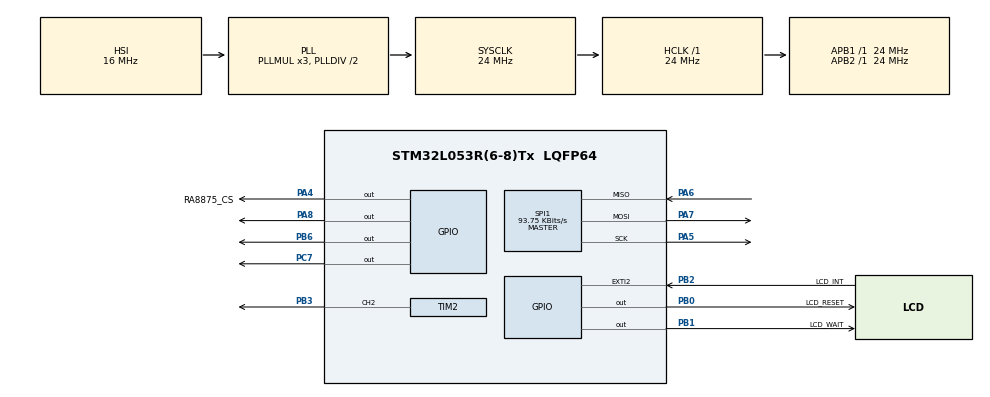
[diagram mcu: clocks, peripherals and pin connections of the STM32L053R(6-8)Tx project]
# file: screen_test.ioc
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Mcu.Family=STM32L0
Mcu.Name=STM32L053R(6-8)Tx
Mcu.Package=LQFP64
NVIC.EXTI2_3_IRQn=true\:0\:0\:false\:false\:true\:true\:true\:true
PA4.GPIO_Label=RA8875_CS
PA4.GPIO_PuPd=GPIO_PULLUP
PA4.GPIO_Speed=GPIO_SPEED_FREQ_VERY_HIGH
PA4.Signal=GPIO_Output
PA5.GPIO_Mode=GPIO_MODE_AF_PP
PA5.Mode=Full_Duplex_Master
PA5.Signal=SPI1_SCK
PA6.GPIO_Mode=GPIO_MODE_AF_PP
PA6.Mode=Full_Duplex_Master
PA6.Signal=SPI1_MISO
PA7.GPIO_Mode=GPIO_MODE_AF_PP
PA7.Mode=Full_Duplex_Master
PA7.Signal=SPI1_MOSI
PA8.GPIO_Speed=GPIO_SPEED_FREQ_MEDIUM
PA8.Signal=GPIO_Output
PB0.GPIO_Label=LCD_RESET
PB0.GPIO_Speed=GPIO_SPEED_FREQ_VERY_HIGH
PB0.Signal=GPIO_Output
PB1.GPIO_Label=LCD_WAIT
PB1.Signal=GPIO_Output
PB2.GPIO_Label=LCD_INT
PB2.GPIO_ModeDefaultEXTI=GPIO_MODE_IT_FALLING
PB2.Signal=GPXTI2
PB3.GPIO_ModeDefaultPP=GPIO_MODE_AF_PP
PB3.Signal=S_TIM2_CH2
PB6.GPIO_PuPd=GPIO_PULLUP
PB6.GPIO_Speed=GPIO_SPEED_FREQ_VERY_HIGH
PB6.Signal=GPIO_Output
PC7.GPIO_PuPd=GPIO_NOPULL
PC7.GPIO_Speed=GPIO_SPEED_FREQ_VERY_HIGH
PC7.Signal=GPIO_Output
PH0-OSC_IN.Mode=HSE-External-Oscillator
PH0-OSC_IN.Signal=RCC_OSC_IN
PH1-OSC_OUT.Mode=HSE-External-Oscillator
PH1-OSC_OUT.Signal=RCC_OSC_OUT
ProjectManager.HeapSize=0x200
ProjectManager.StackSize=0x400
ProjectManager.TargetToolchain=STM32CubeIDE
RCC.ADCFreq_Value=16000000
RCC.AHBFreq_Value=24000000
RCC.APB1Freq_Value=24000000
RCC.APB1TimFreq_Value=24000000
RCC.APB2Freq_Value=24000000
RCC.APB2TimFreq_Value=24000000
RCC.HCLKFreq_Value=24000000
RCC.HSE_VALUE=8000000
RCC.HSI16_VALUE=16000000
RCC.HSI48_VALUE=48000000
RCC.HSI_VALUE=16000000
RCC.LSE_VALUE=32768
RCC.MSI_VALUE=2097000
RCC.SYSCLKFreq_VALUE=24000000
RCC.SYSCLKSource=RCC_SYSCLKSOURCE_PLLCLK
RCC.VCOOutputFreq_Value=48000000
SH.S_TIM2_CH2.0=TIM2_CH2,PWM Generation2 CH2
SPI1.BaudRatePrescaler=SPI_BAUDRATEPRESCALER_256
SPI1.CalculateBaudRate=93.75 KBits/s
SPI1.Direction=SPI_DIRECTION_2LINES
SPI1.Mode=SPI_MODE_MASTER
SPI1.VirtualType=VM_MASTER
TIM2.Channel-PWM\ Generation2\ CH2=TIM_CHANNEL_2
TIM2.Prescaler=180-1
VP_TIM2_VS_ClockSourceINT.Mode=Internal
board=custom

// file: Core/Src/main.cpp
/* USER CODE BEGIN Header */
/**
 * OLD ONE!!
  ******************************************************************************
  * @file           : main.c
  * @brief          : Main program body
  ******************************************************************************
  * @attention
  *
  * Copyright (c) 2026 STMicroelectronics.
  * All rights reserved.
  *
  * This software is licensed under terms that can be found in the LICENSE file
  * in the root directory of this software component.
  * If no LICENSE file comes with this software, it is provided AS-IS.
  *
  ******************************************************************************
  */
/* USER CODE END Header */
#include "main.h"

/* USER CODE BEGIN Includes */
#include <Adafruit_RA8875.hpp>
#include "stdio.h"
#include "string.h"
#include "stdbool.h"
#include "gfxfont.h"
#include "entryPointCPP.hpp"
#include "stm32l0xx_it.h"
#include "ui_def.h"
/* USER CODE END Includes */

SPI_HandleTypeDef hspi1;

TIM_HandleTypeDef htim2;

void SystemClock_Config(void);
static void MX_GPIO_Init(void);
static void MX_SPI1_Init(void);
static void MX_TIM2_Init(void);

/* USER CODE BEGIN 0 */
extern volatile uint8_t touchPending;
#ifdef REDIRECT_PRINTF
#define PUTCHAR_PROTOTYPE int __io_putchar(int ch)
#endif

#ifdef REDIRECT_PRINTF
/**
  * @brief  Retargets the C library printf function to the USART.
  * @param  None
  * @retval None
  */
PUTCHAR_PROTOTYPE
{
  /* Place your implementation of fputc here */
  /* e.g. write a character to the USART2 and Loop until the end of transmission */
  HAL_UART_Transmit(&huart2, (uint8_t *)&ch, 1, 0xFFFF);

  return ch;
}
#endif

void delay(uint16_t time)
{
	__HAL_TIM_SET_COUNTER(&htim2, 0); // changed from htim1 to htim2
	while (__HAL_TIM_GET_COUNTER (&htim2) < time);
}
void MX_SPI1_ReInit(uint32_t scaler)
{

  /* USER CODE BEGIN SPI1_Init 0 */

  /* USER CODE END SPI1_Init 0 */

  /* USER CODE BEGIN SPI1_Init 1 */

  /* USER CODE END SPI1_Init 1 */
  /* SPI1 parameter configuration*/
  hspi1.Instance = SPI1;
  hspi1.Init.Mode = SPI_MODE_MASTER;
  hspi1.Init.Direction = SPI_DIRECTION_2LINES;
  hspi1.Init.DataSize = SPI_DATASIZE_8BIT;
  hspi1.Init.CLKPolarity = SPI_POLARITY_LOW;
  hspi1.Init.CLKPhase = SPI_PHASE_1EDGE;
  hspi1.Init.NSS = SPI_NSS_SOFT;
  hspi1.Init.BaudRatePrescaler = scaler;
  hspi1.Init.FirstBit = SPI_FIRSTBIT_MSB;
  hspi1.Init.TIMode = SPI_TIMODE_DISABLE;
  hspi1.Init.CRCCalculation = SPI_CRCCALCULATION_DISABLE;
  hspi1.Init.CRCPolynomial = 10;
  if (HAL_SPI_Init(&hspi1) != HAL_OK)
  {
    Error_Handler();
  }
/* USER CODE END 0 */
}
int main(void)
{

  /* MCU Configuration--------------------------------------------------------*/

  /* Reset of all peripherals, Initializes the Flash interface and the Systick. */
  HAL_Init();

  /* Configure the system clock */
  SystemClock_Config();

  /* Initialize all configured peripherals */
  MX_GPIO_Init();
  MX_SPI1_Init();
  MX_TIM2_Init();
  /* USER CODE BEGIN 2 */
  printf("\x1b[2J\x1b[H");	// Clear the dumb terminal screen
      printf("Starting Initialization Process\r\n");

      HAL_TIM_Base_Start(&htim2);

      initTest(&hspi1);

      HAL_Delay(1000);

      MX_SPI1_ReInit(SPI_BAUDRATEPRESCALER_32);	// Increase the SPI clock rate

      HAL_Delay(500);
      setup();
  /* USER CODE END 2 */

  /* Infinite loop */
  while (1)
  {

    /* USER CODE BEGIN 3 */
	   if (tft->touched())
	   {
	       update_on_touch();
	   }

  }
  /* USER CODE END 3 */
}

void SystemClock_Config(void)
{
  RCC_OscInitTypeDef RCC_OscInitStruct = {0};
  RCC_ClkInitTypeDef RCC_ClkInitStruct = {0};

  /** Configure the main internal regulator output voltage
  */
  __HAL_PWR_VOLTAGESCALING_CONFIG(PWR_REGULATOR_VOLTAGE_SCALE1);

  /** Initializes the RCC Oscillators according to the specified parameters
  * in the RCC_OscInitTypeDef structure.
  */
  RCC_OscInitStruct.OscillatorType = RCC_OSCILLATORTYPE_HSI;
  RCC_OscInitStruct.HSIState = RCC_HSI_ON;
  RCC_OscInitStruct.HSICalibrationValue = RCC_HSICALIBRATION_DEFAULT;
  RCC_OscInitStruct.PLL.PLLState = RCC_PLL_ON;
  RCC_OscInitStruct.PLL.PLLSource = RCC_PLLSOURCE_HSI;
  RCC_OscInitStruct.PLL.PLLMUL = RCC_PLLMUL_3;
  RCC_OscInitStruct.PLL.PLLDIV = RCC_PLLDIV_2;
  if (HAL_RCC_OscConfig(&RCC_OscInitStruct) != HAL_OK)
  {
    Error_Handler();
  }

  /** Initializes the CPU, AHB and APB buses clocks
  */
   RCC_ClkInitStruct.ClockType = RCC_CLOCKTYPE_HCLK|RCC_CLOCKTYPE_SYSCLK
                               |RCC_CLOCKTYPE_PCLK1|RCC_CLOCKTYPE_PCLK2;
   RCC_ClkInitStruct.SYSCLKSource = RCC_SYSCLKSOURCE_PLLCLK;
   RCC_ClkInitStruct.AHBCLKDivider = RCC_SYSCLK_DIV1;
   RCC_ClkInitStruct.APB1CLKDivider = RCC_HCLK_DIV1;
   RCC_ClkInitStruct.APB2CLKDivider = RCC_HCLK_DIV1;

   if (HAL_RCC_ClockConfig(&RCC_ClkInitStruct, FLASH_LATENCY_1) != HAL_OK)
   {
     Error_Handler();
   }
 }

static void MX_SPI1_Init(void)
{

  /* SPI1 parameter configuration*/
	hspi1.Instance = SPI1;
	hspi1.Init.Mode = SPI_MODE_MASTER;
	hspi1.Init.Direction = SPI_DIRECTION_2LINES;
    hspi1.Init.DataSize = SPI_DATASIZE_8BIT;
    hspi1.Init.CLKPolarity = SPI_POLARITY_LOW;
    hspi1.Init.CLKPhase = SPI_PHASE_1EDGE;
    hspi1.Init.NSS = SPI_NSS_SOFT;
    hspi1.Init.BaudRatePrescaler = SPI_BAUDRATEPRESCALER_256;
    hspi1.Init.FirstBit = SPI_FIRSTBIT_MSB;
    hspi1.Init.TIMode = SPI_TIMODE_DISABLE;
    hspi1.Init.CRCCalculation = SPI_CRCCALCULATION_DISABLE;
    hspi1.Init.CRCPolynomial = 7;
    if (HAL_SPI_Init(&hspi1) != HAL_OK)
    {
      Error_Handler();
    }

}

static void MX_TIM2_Init(void)
{

  TIM_ClockConfigTypeDef sClockSourceConfig = {0};
  TIM_MasterConfigTypeDef sMasterConfig = {0};
  TIM_OC_InitTypeDef sConfigOC = {0};

  htim2.Instance = TIM2;
  htim2.Init.Prescaler = 180-1;
  htim2.Init.CounterMode = TIM_COUNTERMODE_UP;
  htim2.Init.Period = 65535;
  htim2.Init.ClockDivision = TIM_CLOCKDIVISION_DIV1;
  htim2.Init.AutoReloadPreload = TIM_AUTORELOAD_PRELOAD_DISABLE;
  if (HAL_TIM_Base_Init(&htim2) != HAL_OK)
  {
    Error_Handler();
  }
  sClockSourceConfig.ClockSource = TIM_CLOCKSOURCE_INTERNAL;
  if (HAL_TIM_ConfigClockSource(&htim2, &sClockSourceConfig) != HAL_OK)
  {
    Error_Handler();
  }
  if (HAL_TIM_PWM_Init(&htim2) != HAL_OK)
  {
    Error_Handler();
  }
  sMasterConfig.MasterOutputTrigger = TIM_TRGO_RESET;
  sMasterConfig.MasterSlaveMode = TIM_MASTERSLAVEMODE_DISABLE;
  if (HAL_TIMEx_MasterConfigSynchronization(&htim2, &sMasterConfig) != HAL_OK)
  {
    Error_Handler();
  }
  sConfigOC.OCMode = TIM_OCMODE_PWM1;
  sConfigOC.Pulse = 0;
  sConfigOC.OCPolarity = TIM_OCPOLARITY_HIGH;
  sConfigOC.OCFastMode = TIM_OCFAST_DISABLE;
  if (HAL_TIM_PWM_ConfigChannel(&htim2, &sConfigOC, TIM_CHANNEL_2) != HAL_OK)
  {
    Error_Handler();
  }
  HAL_TIM_MspPostInit(&htim2);

}

static void MX_GPIO_Init(void)
{
  GPIO_InitTypeDef GPIO_InitStruct = {0};

  /* GPIO Ports Clock Enable */
  __HAL_RCC_GPIOH_CLK_ENABLE();
  __HAL_RCC_GPIOA_CLK_ENABLE();
  __HAL_RCC_GPIOB_CLK_ENABLE();
  __HAL_RCC_GPIOC_CLK_ENABLE();

  /*Configure GPIO pin Output Level BS generated by IOC
//  HAL_GPIO_WritePin(GPIOA, RA8875_CS_Pin|GPIO_PIN_8, GPIO_PIN_RESET);
//
//  /*Configure GPIO pin Output Level */
//  HAL_GPIO_WritePin(GPIOB, LCD_RESET_Pin|LCD_WAIT_Pin|GPIO_PIN_6, GPIO_PIN_RESET);
//
//  /*Configure GPIO pin Output Level */
//  HAL_GPIO_WritePin(GPIOC, GPIO_PIN_7, GPIO_PIN_RESET);

  HAL_GPIO_WritePin(LCD_RESET_GPIO_Port, LCD_RESET_Pin, GPIO_PIN_RESET);

    /*Configure GPIO pin Output Level */
  HAL_GPIO_WritePin(LCD_WAIT_GPIO_Port, LCD_WAIT_Pin, GPIO_PIN_RESET);

    /*Configure GPIO pin Output Level */
  HAL_GPIO_WritePin(RA8875_CS_GPIO_Port, RA8875_CS_Pin, GPIO_PIN_RESET);
  /*Configure GPIO pin : RA8875_CS_Pin */
  GPIO_InitStruct.Pin = RA8875_CS_Pin;
  GPIO_InitStruct.Mode = GPIO_MODE_OUTPUT_PP;
  GPIO_InitStruct.Pull = GPIO_PULLUP;
  GPIO_InitStruct.Speed = GPIO_SPEED_FREQ_VERY_HIGH;
  HAL_GPIO_Init(RA8875_CS_GPIO_Port, &GPIO_InitStruct);

  /*Configure GPIO pin : LCD_RESET_Pin */
  GPIO_InitStruct.Pin = LCD_RESET_Pin;
  GPIO_InitStruct.Mode = GPIO_MODE_OUTPUT_PP;
  GPIO_InitStruct.Pull = GPIO_NOPULL;
  GPIO_InitStruct.Speed = GPIO_SPEED_FREQ_VERY_HIGH;
  HAL_GPIO_Init(LCD_RESET_GPIO_Port, &GPIO_InitStruct);

  /*Configure GPIO pin : LCD_WAIT_Pin */
  GPIO_InitStruct.Pin = LCD_WAIT_Pin;
  GPIO_InitStruct.Mode = GPIO_MODE_OUTPUT_PP;
  GPIO_InitStruct.Pull = GPIO_NOPULL;
  GPIO_InitStruct.Speed = GPIO_SPEED_FREQ_LOW;
  HAL_GPIO_Init(LCD_WAIT_GPIO_Port, &GPIO_InitStruct);

  /*Configure GPIO pin : LCD_INT_Pin */
  GPIO_InitStruct.Pin = LCD_INT_Pin;
  GPIO_InitStruct.Mode = GPIO_MODE_IT_FALLING;
  GPIO_InitStruct.Pull = GPIO_PULLUP;
  HAL_GPIO_Init(LCD_INT_GPIO_Port, &GPIO_InitStruct);

  /* EXTI interrupt init*/
  HAL_NVIC_SetPriority(EXTI2_3_IRQn, 0, 0);
  HAL_NVIC_EnableIRQ(EXTI2_3_IRQn);

}

void Error_Handler(void)
{
  __disable_irq();
  while (1)
  {
  }
}
